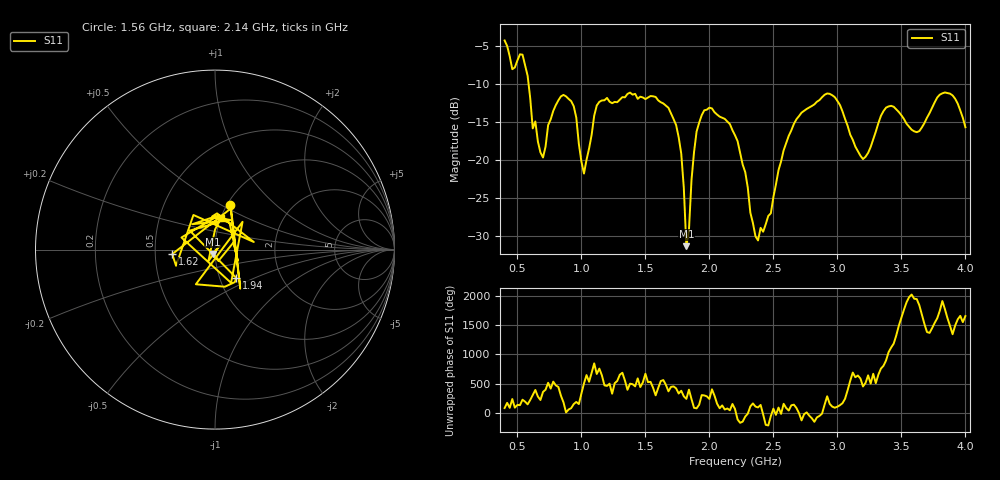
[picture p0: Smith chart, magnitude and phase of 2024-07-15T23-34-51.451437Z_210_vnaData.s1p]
!Created with skrf (http://scikit-rf.org).
# Hz S RI R 50.0
!freq ReS11 ImS11
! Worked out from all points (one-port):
!   181 points, 400 MHz to 4 GHz, reference 50 ohm
!   lowest |S11| = -31.3 dB at 1.82 GHz (marker M1), VSWR 1.06, Z = 48.7 - j2.37 ohm
!   |S11| at or under -10 dB: 587.1 MHz to end of sweep
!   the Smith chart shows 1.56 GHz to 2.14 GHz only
!   S11 on the Smith chart (normalised r, x): 1.56 GHz: 1.04, +0.55; 1.62 GHz: 0.61, -0.03; 1.94 GHz: 1.20, -0.39; 2.14 GHz: 1.01, +0.36
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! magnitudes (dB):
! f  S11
! 400 MHz  -4.3
! 460 MHz  -8.1
! 540 MHz  -6.2
! 620 MHz  -15.8
! 700 MHz  -19.7
! 860 MHz  -11.5
! 940 MHz  -12.9
! 1.02 GHz  -21.8
! 1.12 GHz  -12.8
! 1.3 GHz  -12.1
! 1.56 GHz  -11.6
! 1.62 GHz  -12.4
! 1.76 GHz  -17.0
! 1.8 GHz  -23.6
! 1.82 GHz  -31.3
! 1.88 GHz  -18.9
! 1.94 GHz  -14.1
! 2.14 GHz  -14.9
! 2.2 GHz  -16.7
! 2.38 GHz  -30.5
! 2.66 GHz  -15.3
! 2.94 GHz  -11.3
! 3.1 GHz  -16.7
! 3.2 GHz  -19.9
! 3.38 GHz  -13.1
! 3.56 GHz  -15.6
! 3.84 GHz  -11.1
! 4 GHz  -15.7
